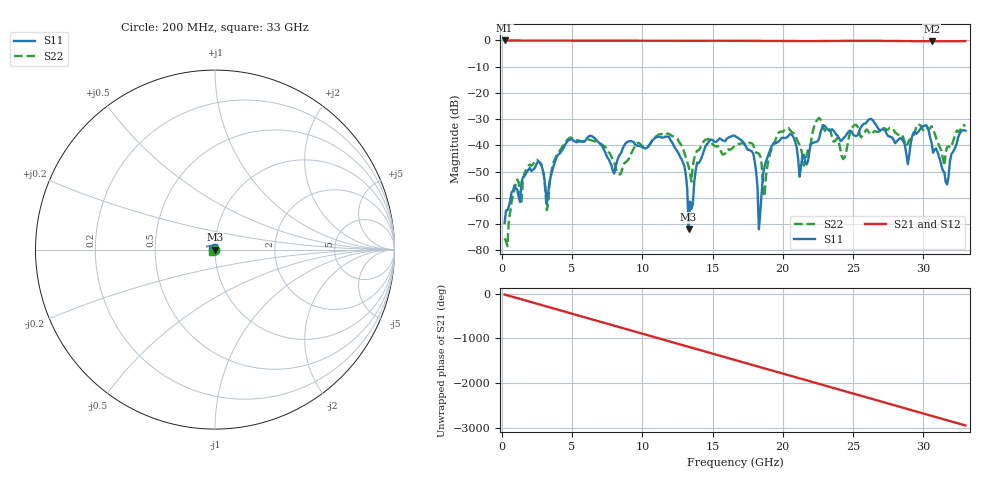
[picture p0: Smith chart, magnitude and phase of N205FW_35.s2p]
# GHZ S RI R 50
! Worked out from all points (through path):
!   329 points, 200 MHz to 33 GHz, reference 50 ohm
!   highest |S21| = -0.02 dB at 200 MHz (marker M1); lowest = -0.3 dB at 30.6 GHz (marker M2)
!   group delay of S21, straight-line fit = 248 ps
!   lowest |S11| = -71.9 dB at 13.3 GHz (marker M3), VSWR 1.00, Z = 50 + j0.0248 ohm
!   |S11| at or under -10 dB: start of sweep to end of sweep
!   |S22| runs from -78.4 to -29.5 dB; largest |S21 - S12| = 0.0022
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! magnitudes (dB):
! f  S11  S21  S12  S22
! 200 MHz  -69.5  0.0  0.0  -75.4
! 1.1 GHz  -56.9  -0.1  -0.1  -52.9
! 2.5 GHz  -46.8  -0.1  -0.1  -45.4
! 3.2 GHz  -62.6  -0.1  -0.1  -64.6
! 3.9 GHz  -44.5  -0.1  -0.1  -43.7
! 5.7 GHz  -38.5  -0.1  -0.1  -38.6
! 8.4 GHz  -43.4  -0.1  -0.1  -51.1
! 11.2 GHz  -36.7  -0.2  -0.2  -35.8
! 13 GHz  -47.9  -0.2  -0.2  -42.8
! 13.3 GHz  -71.9  -0.2  -0.2  -48.0
! 13.9 GHz  -46.6  -0.2  -0.2  -42.0
! 16.6 GHz  -36.3  -0.1  -0.1  -40.0
! 17.9 GHz  -43.1  -0.2  -0.2  -39.8
! 18.3 GHz  -71.9  -0.2  -0.2  -43.1
! 18.7 GHz  -48.1  -0.2  -0.2  -59.4
! 19.3 GHz  -39.5  -0.2  -0.2  -40.5
! 21.2 GHz  -51.9  -0.3  -0.3  -39.8
! 22.1 GHz  -39.1  -0.3  -0.3  -35.5
! 27.6 GHz  -36.6  -0.2  -0.2  -33.3
! 30.6 GHz  -39.1  -0.3  -0.3  -32.7
! 31.7 GHz  -54.9  -0.3  -0.3  -40.5
! 33 GHz  -34.4  -0.3  -0.3  -32.6
